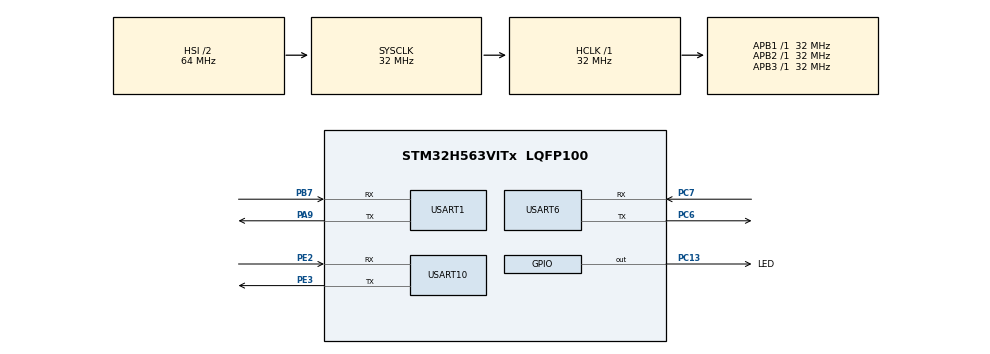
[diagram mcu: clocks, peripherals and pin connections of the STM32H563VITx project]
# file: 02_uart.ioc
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BOOTPATH.BootPathName=LEGACY
BOOTPATH.UserSelectedBootPath=LEGACY
CORTEX_M33_NS.userName=CORTEX_M33
GPDMA1.CIRCULARMODE_GPDMACH1=ENABLE
GPDMA1.CIRCULARMODE_GPDMACH2=ENABLE
GPDMA1.RECAP_GPDMACH1=GPDMA1_REQUEST_USART1_RX
Mcu.Family=STM32H5
Mcu.Name=STM32H563VITx
Mcu.Package=LQFP100
NVIC.PriorityGroup=NVIC_PRIORITYGROUP_4
NVIC.USART1_IRQn=true\:0\:0\:false\:false\:true\:true\:true\:true
PA9.Mode=Asynchronous
PA9.Signal=USART1_TX
PB7.Mode=Asynchronous
PB7.Signal=USART1_RX
PC13.GPIO_Label=LED
PC13.Signal=GPIO_Output
PC6.Mode=Asynchronous
PC6.Signal=USART6_TX
PC7.Mode=Asynchronous
PC7.Signal=USART6_RX
PE2.Mode=Asynchronous
PE2.Signal=USART10_RX
PE3.Mode=Asynchronous
PE3.Signal=USART10_TX
ProjectManager.HeapSize=0x200
ProjectManager.StackSize=0x400
ProjectManager.TargetToolchain=STM32CubeIDE
RCC.ADCFreq_Value=32000000
RCC.AHBFreq_Value=32000000
RCC.APB1Freq_Value=32000000
RCC.APB1TimFreq_Value=32000000
RCC.APB2Freq_Value=32000000
RCC.APB2TimFreq_Value=32000000
RCC.APB3Freq_Value=32000000
RCC.CSI_VALUE=4000000
RCC.CortexFreq_Value=32000000
RCC.EPOD_VALUE=4000000
RCC.HCLKFreq_Value=32000000
RCC.HSE_VALUE=25000000
RCC.HSI48_VALUE=48000000
RCC.HSI_VALUE=64000000
RCC.LSE_VALUE=32768
RCC.LSIRC_VALUE=32000
RCC.SYSCLKFreq_VALUE=32000000
RCC.USBFreq_Value=48000000
RCC.VCOOutputFreq_Value=516000000
USART1.VirtualMode-Asynchronous=VM_ASYNC
USART10.VirtualMode=VM_ASYNC
USART6.VirtualMode=VM_ASYNC
VP_BOOTPATH_VS_BOOTPATH.Mode=BP_Activate
VP_CORTEX_M33_NS_VS_Hclk.Mode=Hclk_Mode
VP_GPDMA1_VS_GPDMACH1.Mode=SIMPLEREQUEST_GPDMACH1
VP_GPDMA1_VS_GPDMACH2.Mode=SIMPLEREQUEST_GPDMACH2
VP_ICACHE_VS_ENABLE_ICACHE_MEMORY.Mode=Memoryregions
VP_ICACHE_VS_ICACHE.Mode=DirectMappedCache
VP_MEMORYMAP_VS_MEMORYMAP.Mode=CurAppReg
VP_PWR_VS_LPOM.Mode=PowerOptimisation
VP_PWR_VS_SECSignals.Mode=Security/Privilege
board=custom

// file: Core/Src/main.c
/* USER CODE BEGIN Header */
/**
 ******************************************************************************
 * @file           : main.c
 * @brief          : Main program body
 ******************************************************************************
 * @attention
 *
 * Copyright (c) 2026 STMicroelectronics.
 * All rights reserved.
 *
 * This software is licensed under terms that can be found in the LICENSE file
 * in the root directory of this software component.
 * If no LICENSE file comes with this software, it is provided AS-IS.
 *
 ******************************************************************************
 */

/**
 * @brief 해당 예제는 stm32h5-kit의 3개 채널 uart를 동시에 다루는 예제입니다.
 *        디버그쪽 Uart(STLink) 포트를 이용하여, 간단한 인터페이스를 구현하며,
 *        Uart를 쉽게 이해 할 수 있게 구현되어 있습니다.
 *        보드의 다른 UART 2개 채널에서도 메시지를 실시간으로 받으며,
 *        500ms마다 "Hello World\n"를 전송합니다.
 *
 * @details 시나리오는 아래와 같습니다.
 *    1. uart 메시지는 Interrupt로 받습니다.
 *    2. Interrupt가 발생할때 마다 (실제 물리적인 uart 메시지가 올때마다), 불리게 되는 Callback 함수 내에서
 *       배열의 초기화, 및 다음 메시지 수신 준비 등 기본적인 과정을 거친 후,
 *       main loop에서 메시지를 파싱하여, 명령을 수행합니다.
 *    3. 명령의 기능적 종류는 세가지이며, LED 토글과, 다른 UART채널로 고정적인 메시지를 보내는것입니다.
 *
 * @note 인터럽트와 메인루프가 공유하는 변수는 volitile을 사용해야 합니다.
 *       인터럽트로 인한 변수값 변화는 컴파일러가 인지하지 못하기 때문에,
 *       뜻하지 않는 캐싱으로 작용 할 수 있음.
 *
 *       ioc에서..
 *       USART1번, 6번, 10번을 활성화 하고 아래 핀번호를 확인합니다.
 *       LED  :  PC13
 *
 *       USART1 :  TX - PA9
 *                 RX - PB7
 *       USART6 :  TX - PC6
 *                 RX - PC7
 *       USART10 : TX - PE3
 *                 RX - PE2
 *
 *       마지막으로 NVIC Setting에서 USART1번의 Global Interrupt 옵션 체크를 했는지 반드시 확인합니다.
 */
/* USER CODE END Header */
#include "main.h"
#include "gpdma.h"
#include "gpio.h"
#include "icache.h"
#include "usart.h"

/* USER CODE BEGIN Includes */
#include <stdbool.h>
#include <string.h>
/* USER CODE END Includes */

/* USER CODE BEGIN PD */
#define RX_BUF_SIZE 64 // 수신 할 메시지의 최대 길이 (실제로는 63개의 char)
/* USER CODE END PD */

/* USER CODE BEGIN PV */
static uint8_t          debug_uart_rx_char;              // uart 수신 : 한 바이트의 문자
static char             debug_uart_rx_line[RX_BUF_SIZE]; // 한 바이트가 모여 이루어진 문자열
static volatile uint8_t debug_uart_rx_idx   = 0;         // rx_line의 배열 index
static volatile bool    debug_uart_rx_ready = false;     // 수신중 겹치지 않게 하는 flag

extern UART_HandleTypeDef huart1;                        // [STLink] uart 핸들러
extern UART_HandleTypeDef huart6;                        // uart6 핸들러
extern UART_HandleTypeDef huart10;                       // uart10 핸들러
/* USER CODE END PV */

void SystemClock_Config(void);

/* USER CODE BEGIN 0 */

/**
 * @brief Uart 수신이 완료되어, 인터럽트 발생시 호출되는 Callback 함수
 *        이 함수내에서 하는 일은
 *        간단한 배열 조작에 불과하지만,
 *        이 함수 호출은 실제로는 인터럽트가 일어날때 호출된다는 점이 중요하다.
 */
void HAL_UART_RxCpltCallback(UART_HandleTypeDef *huart)
{
  if (debug_uart_rx_ready) // 수신된 메시지가 처리가 되지않았을 경우, 수신을 받되, 버퍼에 쓰진 않는다.
  {
    HAL_UART_Receive_IT(&huart1, &debug_uart_rx_char, 1);
    return;
  }

  if (huart == &huart1)                                                             // 1. 해당 포트의 인터럽트가 맞다면
  {
    HAL_UART_Transmit(&huart1, &debug_uart_rx_char, sizeof(debug_uart_rx_char), 1); // 사용자가 입력한 글자를 그대로 출력 (사용환경을 위해)

    if (debug_uart_rx_char == '\n' || debug_uart_rx_char == '\r')                   // 4. 개행 문자가 들어왔다면,
    {
      debug_uart_rx_line[debug_uart_rx_idx] = 0;                                    // 5. 배열과 인덱스 초기화, 그리고 수신 준비가 완료됨을 표시한다.
      debug_uart_rx_idx                     = 0;
      debug_uart_rx_ready                   = true;                                 // 6. 이 boolean 변수를 가지고 main loop에서 활용한다.
    }
    else
    {
      if (debug_uart_rx_idx < RX_BUF_SIZE - 1)
      {
        debug_uart_rx_line[debug_uart_rx_idx++] = debug_uart_rx_char; // 2. debug_uart_rx_line 배열에 한글자씩 담는다.
      }
    }
    HAL_UART_Receive_IT(&huart1, &debug_uart_rx_char, 1);             // 3. 다음 글자를 수신한다.
  }
}

/* USER CODE END 0 */

int main(void)
{

  /* MCU Configuration--------------------------------------------------------*/

  /* Reset of all peripherals, Initializes the Flash interface and the Systick. */
  HAL_Init();

  /* Configure the system clock */
  SystemClock_Config();

  /* Initialize all configured peripherals */
  MX_GPIO_Init();
  MX_GPDMA1_Init();
  MX_USART1_UART_Init();
  MX_USART6_UART_Init();
  MX_USART10_UART_Init();
  MX_ICACHE_Init();
  /* USER CODE BEGIN 2 */
  HAL_GPIO_WritePin(LED_GPIO_Port, LED_Pin, GPIO_PIN_SET); // 처음에 LED를 꺼준다.
  HAL_UART_Receive_IT(&huart1, &debug_uart_rx_char, 1); // 인터럽트로 uart 수신 (1바이트 한글자)을 예약한다.
  /* USER CODE END 2 */

  /* Infinite loop */
  /* USER CODE BEGIN WHILE */

  // 인터럽트가 일어나면, 콜백 함수에서 데이터를 저장 하고,
  // 로직은 이곳에서 처리한다.
  while (1)
  {
    if (debug_uart_rx_ready)                                       // 데이터 수신 완료 후 대기중
    {
      debug_uart_rx_ready = false;

      if (strcmp(debug_uart_rx_line, "LED ON") == 0)               // 들어온 문자열이 "LED ON\n"일때
      {
        HAL_GPIO_WritePin(LED_GPIO_Port, LED_Pin, GPIO_PIN_RESET); // LED를 켜준다.
        char msg[] = "current : LED ON\n";
        HAL_UART_Transmit(&huart1, (uint8_t *)msg, sizeof(msg), 100);
      }
      else if (strcmp(debug_uart_rx_line, "LED OFF") == 0)         // 들어온 문자열이 "LED OFF\n"일때
      {
        HAL_GPIO_WritePin(LED_GPIO_Port, LED_Pin, GPIO_PIN_SET);   // LED를 꺼준다.
        char msg[] = "current : LED OFF\n";
        HAL_UART_Transmit(&huart1, (uint8_t *)msg, sizeof(msg), 100);
      }
      else if (strcmp(debug_uart_rx_line, "UART6 SEND") == 0)      // 들어온 문자열이 "UART6 SEND\n"일때
      {
        char msg[] = "[SENT]Hello Uart!\n";
        HAL_UART_Transmit(&huart6, (uint8_t *)msg, sizeof(msg), 100);
      }
      else if (strcmp(debug_uart_rx_line, "UART10 SEND") == 0)     // 들어온 문자열이 "UART10 SEND\n"일때
      {
        char msg[] = "[SENT]Hello Uart!\n";
        HAL_UART_Transmit(&huart10, (uint8_t *)msg, sizeof(msg), 100);
      }
      else                                                         // 모르는 문자열일 경우
      {
        char msg[] = "[ERROR]unknown command\n";
        HAL_UART_Transmit(&huart1, (uint8_t *)msg, sizeof(msg), 100);
      }
    }

    /* USER CODE END WHILE */

  }
}

void SystemClock_Config(void)
{
  RCC_OscInitTypeDef RCC_OscInitStruct = {0};
  RCC_ClkInitTypeDef RCC_ClkInitStruct = {0};

  /** Configure the main internal regulator output voltage
   */
  __HAL_PWR_VOLTAGESCALING_CONFIG(PWR_REGULATOR_VOLTAGE_SCALE3);

  while (!__HAL_PWR_GET_FLAG(PWR_FLAG_VOSRDY))
  {
  }

  /** Initializes the RCC Oscillators according to the specified parameters
   * in the RCC_OscInitTypeDef structure.
   */
  RCC_OscInitStruct.OscillatorType      = RCC_OSCILLATORTYPE_HSI;
  RCC_OscInitStruct.HSIState            = RCC_HSI_ON;
  RCC_OscInitStruct.HSIDiv              = RCC_HSI_DIV2;
  RCC_OscInitStruct.HSICalibrationValue = RCC_HSICALIBRATION_DEFAULT;
  RCC_OscInitStruct.PLL.PLLState        = RCC_PLL_NONE;
  if (HAL_RCC_OscConfig(&RCC_OscInitStruct) != HAL_OK)
  {
    Error_Handler();
  }

  /** Initializes the CPU, AHB and APB buses clocks
   */
  RCC_ClkInitStruct.ClockType      = RCC_CLOCKTYPE_HCLK | RCC_CLOCKTYPE_SYSCLK | RCC_CLOCKTYPE_PCLK1 | RCC_CLOCKTYPE_PCLK2 | RCC_CLOCKTYPE_PCLK3;
  RCC_ClkInitStruct.SYSCLKSource   = RCC_SYSCLKSOURCE_HSI;
  RCC_ClkInitStruct.AHBCLKDivider  = RCC_SYSCLK_DIV1;
  RCC_ClkInitStruct.APB1CLKDivider = RCC_HCLK_DIV1;
  RCC_ClkInitStruct.APB2CLKDivider = RCC_HCLK_DIV1;
  RCC_ClkInitStruct.APB3CLKDivider = RCC_HCLK_DIV1;

  if (HAL_RCC_ClockConfig(&RCC_ClkInitStruct, FLASH_LATENCY_1) != HAL_OK)
  {
    Error_Handler();
  }

  /** Configure the programming delay
   */
  __HAL_FLASH_SET_PROGRAM_DELAY(FLASH_PROGRAMMING_DELAY_0);
}

void Error_Handler(void)
{
  __disable_irq();
  while (1)
  {
  }
}
